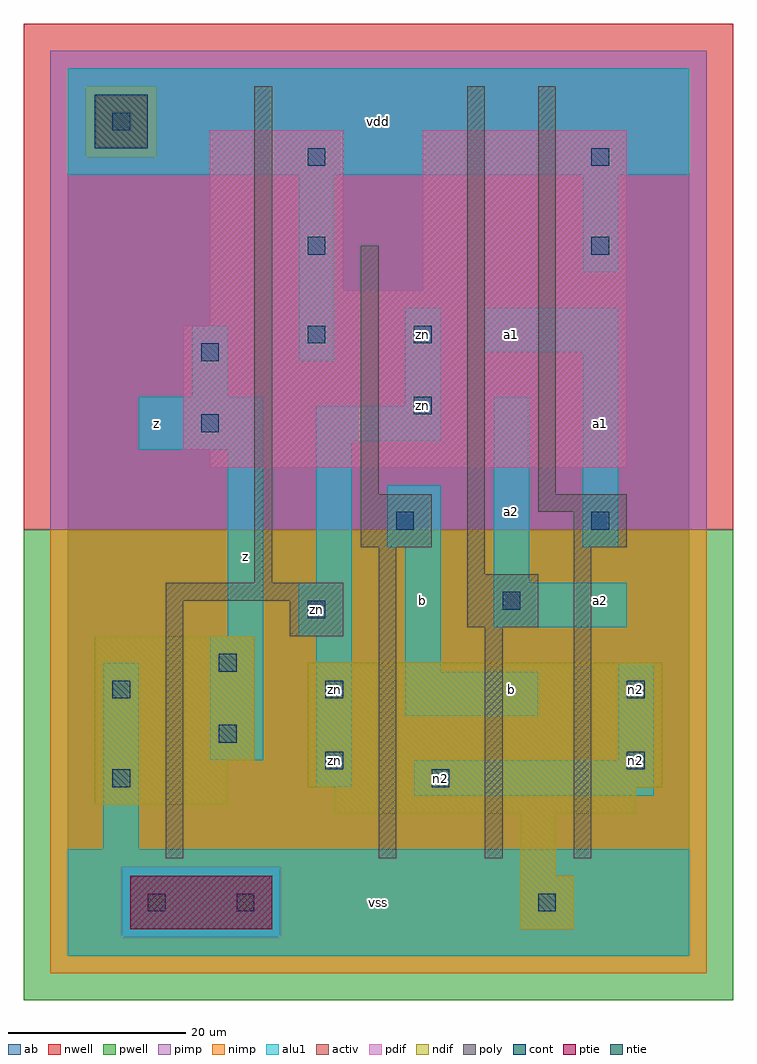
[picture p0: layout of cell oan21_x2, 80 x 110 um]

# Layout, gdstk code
import gdstk
lib = gdstk.Library(unit=1e-6, precision=1e-09)
def R(c, l, rs):  # rectangles x0, y0, x1, y1
    for r in rs: c.add(gdstk.rectangle(r[:2], r[2:], *l))
def A(c, l, x, y, w, h, nx, ny, dx, dy):  # array of equal rectangles
    R(c, l, [(x+i*dx, y+j*dy, x+i*dx+w, y+j*dy+h) for i in range(nx) for j in range(ny)])
ndif = (3, 0)
pdif = (4, 0)
ntie = (5, 0)
ptie = (6, 0)
cont = (25, 0)
pwell = (41, 0)
nwell = (42, 0)
activ = (43, 0)
pimp = (44, 0)
nimp = (45, 0)
poly = (46, 0)
alu1 = (49, 0)
ab = (63, 0)

oan21_x2 = lib.new_cell('oan21_x2')
R(oan21_x2, ndif, [(51,3,57,9), (51,9,55,16), (30,16,64,19), (3,17,18,22), (27,19,67,33), (3,22,21,36)])
R(oan21_x2, pdif, [(16,55,63,57), (13,57,63,71), (16,71,63,75), (16,75,31,93), (40,75,63,93)])
R(oan21_x2, ntie, [(3,91,9,97)])
R(oan21_x2, ptie, [(7,3,23,9)])
A(oan21_x2, cont, 27, 69, 2, 2, 1, 3, 0, 10)
R(oan21_x2, cont, [(9,5,11,7), (19,5,21,7), (53,5,55,7), (5,19,7,21), (41,19,43,21), (29,21,31,23), (63,21,65,23), (17,24,19,26), (5,29,7,31), (29,29,31,31), (63,29,65,31), (17,32,19,34), (27,38,29,40), (49,39,51,41), (37,48,39,50), (59,48,61,50), (15,59,17,61), (39,61,41,63), (15,67,17,69), (39,69,41,71), (59,79,61,81), (59,89,61,91), (5,93,7,95)])
R(oan21_x2, pwell, [(-5,-5,75,48)])
R(oan21_x2, nwell, [(-5,48,75,105)])
R(oan21_x2, activ, [(7,3,23,9), (51,3,57,9), (51,9,55,16), (30,16,64,19), (3,17,18,22), (27,19,67,33), (3,22,21,36), (16,55,63,57), (13,57,63,71), (16,71,63,75), (16,75,31,93), (40,75,63,93), (3,91,9,97)])
R(oan21_x2, pimp, [(6,2,24,10), (-2,48,72,90), (-2,90,2,98), (10,90,72,98), (-2,98,72,102)])
R(oan21_x2, nimp, [(-2,-2,72,2), (-2,2,6,10), (24,2,72,10), (-2,10,72,48), (2,90,10,98)])
R(oan21_x2, poly, [(11,11,13,40), (35,11,37,46), (47,11,49,37), (57,11,59,46), (25,36,31,40), (45,37,53,43), (11,40,31,42), (21,42,23,98), (45,43,47,98), (33,46,41,52), (57,46,63,50), (53,50,63,52), (33,52,35,80), (53,52,55,98)])
R(oan21_x2, alu1, [(0,0,70,12), (4,12,8,33), (39,18,66,22), (28,19,32,36), (16,22,22,36), (62,22,66,33), (38,27,53,32), (38,32,42,46), (18,36,22,57), (26,36,32,42), (48,37,63,42), (28,42,32,58), (48,42,52,63), (36,46,42,53), (58,46,62,68), (8,57,22,63), (28,58,42,62), (38,62,42,73), (14,63,18,71), (26,67,30,88), (47,68,62,73), (58,77,62,88), (0,88,70,100)])
R(oan21_x2, ab, [(0,0,70,100)])
oan21_x2.add(gdstk.Label('zn', (30,22), layer=49, texttype=0))
oan21_x2.add(gdstk.Label('zn', (30,30), layer=49, texttype=0))
oan21_x2.add(gdstk.Label('zn', (28,39), layer=49, texttype=0))
oan21_x2.add(gdstk.Label('n2', (42,20), layer=49, texttype=0))
oan21_x2.add(gdstk.Label('zn', (40,70), layer=49, texttype=0))
oan21_x2.add(gdstk.Label('zn', (40,62), layer=49, texttype=0))
oan21_x2.add(gdstk.Label('n2', (64,22), layer=49, texttype=0))
oan21_x2.add(gdstk.Label('n2', (64,30), layer=49, texttype=0))
oan21_x2.add(gdstk.Label('z', (10,60), layer=49, texttype=0))
oan21_x2.add(gdstk.Label('z', (20,45), layer=49, texttype=0))
oan21_x2.add(gdstk.Label('vss', (35,6), layer=49, texttype=0))
oan21_x2.add(gdstk.Label('b', (40,40), layer=49, texttype=0))
oan21_x2.add(gdstk.Label('b', (50,30), layer=49, texttype=0))
oan21_x2.add(gdstk.Label('a2', (50,50), layer=49, texttype=0))
oan21_x2.add(gdstk.Label('a1', (50,70), layer=49, texttype=0))
oan21_x2.add(gdstk.Label('vdd', (35,94), layer=49, texttype=0))
oan21_x2.add(gdstk.Label('a2', (60,40), layer=49, texttype=0))
oan21_x2.add(gdstk.Label('a1', (60,60), layer=49, texttype=0))

lib.write_gds('oan21_x2.gds')
